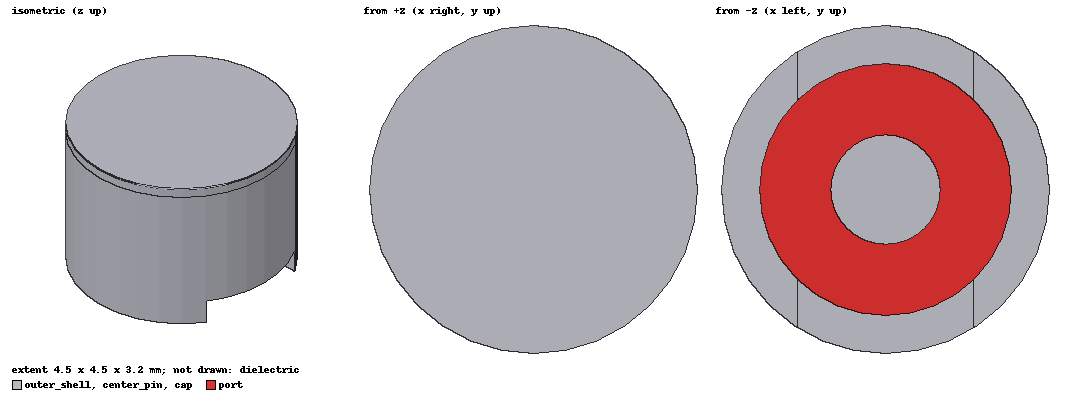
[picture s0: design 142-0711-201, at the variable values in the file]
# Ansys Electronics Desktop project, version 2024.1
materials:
  air: permittivity=1.0006 permeability=1.0000004
  copper: permeability=0.999991 conductivity=58000000
  FR4: permittivity=4.35 dielectric_loss_tangent=0.02
  FR4_epoxy: permittivity=4.4 dielectric_loss_tangent=0.02
  pec: conductivity=1e+30
  ro4003: permittivity=3.38 permeability=1 dielectric_loss_tangent=0.0027
  ro4450f: permittivity=3.52 dielectric_loss_tangent=0.002
  vacuum: permittivity=1

design 142-0711-201 (HFSS, HFSS Terminal Network, model units mm)
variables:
  N = 32
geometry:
  center_pin [pec] = cylinder(axis=Z, base_centre=(0mm, 0mm, 0mm), radius=1.5mm/2, height=3mm, segments=N)
  outer_shell [pec] = cylinder(axis=Z, base_centre=(0mm, 0mm, 0mm), radius=4.5mm/2, height=3mm, segments=N)
  outer_shell_tool = cylinder(axis=Z, base_centre=(0mm, 0mm, 0mm), radius=1.5mm/2*2.303, height=3mm, segments=N)
  dielectric [vacuum] = cylinder(axis=Z, base_centre=(0mm, 0mm, 0mm), radius=1.5mm/2*2.303, height=3mm, segments=N)
  outer_shell.subtract(outer_shell_tool)
  port = circle(normal=Z, centre=(0mm, 0mm, 3mm), radius=4.5mm/2, segments=N)
  Rectangle2 = rectangle(corner=(-2.41mm/2, -5mm, 0mm), x_size=2.41mm, y_size=10mm)
  Rectangle2.sweep_along_vector((0mm, 0mm, 0.5mm))
  outer_shell.subtract(Rectangle2)
  cap [pec] = circle(normal=Z, centre=(0mm, 0mm, 3mm), radius=4.5mm/2, segments=N)
  cap.sweep_along_vector((0mm, 0mm, 0.2mm))
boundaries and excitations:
  center_pin_T1: Terminal port=1 Faces=center_pin.face(at (0, 0, 3)) TerminalResistance=50ohm
  1: Wave Port Faces=port.face WavePortType=Terminal NumModes=1
  2: Wave Port Faces=cap.face(at (0, 0, 3)) WavePortType=Terminal NumModes=1
  reference conductors: outer_shell
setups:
  Setup1: HfssDriven Frequency=2.42GHz MaxDeltaS=0.02 MaximumPasses=6 MinimumPasses=1 MinimumConvergedPasses=1 PercentRefinement=30 BasisOrder=1 PortAccuracy=0.5 DrivenSolverType="Direct Solver"
    sweep Sweep: 1.21GHz to 3.63GHz, 401 points; disabled Type=Interpolating InterpTolerance=0.5 InterpMaxSolns=250 InterpUseS=false
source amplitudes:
  1:1: 1V 0deg

design res0402 (HFSS 3D Layout)
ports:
  Port1, Port2: Properties{Reference=gnd Impedance=50ohm Magnitude=1V Phase=0deg Renormalize_Impedence="50ohm + 0i ohm" Renormalize Deembed_Distance=0mm Deembed Type="Single Strip Gap Source" HFSS_Type=Gap Orientation=Vertical Layer_Alignment=Lower Horizontal_Extent_Factor=5 Vertical_Extent_Factor=3 PEC_Launch_Width=0.06mm} Type=EdgePort
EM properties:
  rect_3 EM props: Type(Mesh, ThinFilm) Properties{Refined RefineFactor=1 Material=copper SheetImpedance=resistance Model_as_Sheet} Element=rect_3
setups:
  Setup1: SolveSetupType=HFSS PercentRefinementPerPass=15 MinNumberOfPasses=1 MinNumberOfConvergedPasses=1 Frequency=10GHz MeshSizeFactor=1.5 ViaNumSides=6 ViaMaterial=copper Style25DVia=Mesh
    sweep Sweep1: LINC 1GHz 3GHz 201; SAbsError=0.005 ZoPercentError=1 PassivityTolerance=0.0001 MaxSolutions=250 InterpUseSMatrix InterpUsePortImpedance InterpUseFullBasis MinSolvedFreq=0.01GHz AutoSMatOnlySolve MinFreqSMatrixOnlySolve=1MHz MagMinThreshold=0.01 InterpMinSolutions=0 FreqSweepType=kInterpolating

design splitter (HFSS 3D Layout)
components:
  U7 = res403()
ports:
  Port1, Port2, Port3: Properties{Reference=gnd Impedance=50ohm Magnitude=1V Phase=0deg Renormalize_Impedence="50ohm + 0i ohm" Renormalize Deembed_Distance=0mm Deembed Type="Single Strip Gap Source" HFSS_Type=Gap Orientation=Vertical Layer_Alignment=Lower Horizontal_Extent_Factor=5 Vertical_Extent_Factor=3 PEC_Launch_Width=0.12mm} Type=EdgePort
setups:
  Setup1: SolveSetupType=HFSS PercentRefinementPerPass=15 MinNumberOfPasses=1 MinNumberOfConvergedPasses=1 Frequency=10GHz MeshSizeFactor=1.5 ViaNumSides=6 ViaMaterial=copper Style25DVia=Mesh
    sweep Sweep1: LINC 1.5GHz 3.5GHz 201; SAbsError=0.005 ZoPercentError=1 PassivityTolerance=0.0001 MaxSolutions=250 InterpUseSMatrix InterpUsePortImpedance InterpUseFullBasis MinSolvedFreq=0.01GHz AutoSMatOnlySolve MinFreqSMatrixOnlySolve=1MHz MagMinThreshold=0.01 InterpMinSolutions=0 FreqSweepType=kInterpolating
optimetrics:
  ParametricSetup1: Parametric Sim._Setups=[Setup1]
    sweep len: LIN 15mm 25mm 1mm
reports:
  S Parameter Plot 1: XAtYMin(dB(S(Port1,Port1))), XAtYMax(dB(S(Port2,Port1))), XAtYMax(dB(S(Port3,Port1))) vs len on Setup1 : Sweep1 [Freq=all]; markers MY1 at y=2.42e+09
  S Parameter Plot 2: dB(S(Port2,Port1)), dB(S(Port3,Port1)) vs Freq on Setup1 : Sweep1
  S Parameter Plot 3: dB(S(Port1,Port1)) vs Freq on Setup1 : Sweep1

design res403 (HFSS 3D Layout)
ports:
  Port1, Port2: Properties{Reference=gnd Impedance=50ohm Magnitude=1V Phase=0deg Renormalize_Impedence="50ohm + 0i ohm" Renormalize Deembed_Distance=0mm Deembed Type="Single Strip Gap Source" HFSS_Type=Gap Orientation=Vertical Layer_Alignment=Lower Horizontal_Extent_Factor=5 Vertical_Extent_Factor=3 PEC_Launch_Width=0.06mm} Type=EdgePort
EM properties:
  rect_3 EM props: Type(Mesh, ThinFilm) Properties{Refined RefineFactor=1 Material=copper SheetImpedance=resistance Model_as_Sheet} Element=rect_3
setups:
  Setup1: SolveSetupType=HFSS PercentRefinementPerPass=15 MinNumberOfPasses=1 MinNumberOfConvergedPasses=1 Frequency=10GHz MeshSizeFactor=1.5 ViaNumSides=6 ViaMaterial=copper Style25DVia=Mesh
    sweep Sweep1: LINC 1GHz 3GHz 201; SAbsError=0.005 ZoPercentError=1 PassivityTolerance=0.0001 MaxSolutions=250 InterpUseSMatrix InterpUsePortImpedance InterpUseFullBasis MinSolvedFreq=0.01GHz AutoSMatOnlySolve MinFreqSMatrixOnlySolve=1MHz MagMinThreshold=0.01 InterpMinSolutions=0 FreqSweepType=kInterpolating

design patch (HFSS 3D Layout)
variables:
  slot_length1 = 3mm
  slot_width1 = 5mm
  microstrip_len = 20mm
  microstrip_stub = 8.5mm
  a = 7mm
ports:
  Port1, Port2: Properties{Reference=gnd Impedance=50ohm Magnitude=1V Phase=0deg Renormalize_Impedence="50ohm + 0i ohm" Renormalize Deembed_Distance=0mm Deembed Type="Single Strip Gap Source" HFSS_Type=Gap Orientation=Vertical Layer_Alignment=Lower Horizontal_Extent_Factor=5 Vertical_Extent_Factor=3 PEC_Launch_Width=0.11mm} Type=EdgePort
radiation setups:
  Infinite Sphere 1: Type=InfiniteSphereFarField StartTheta=0deg StartPhi=-180deg StopTheta=180deg StopPhi=180deg StepTheta=2deg StepPhi=2deg
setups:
  Setup1: SolveSetupType=HFSS PercentRefinementPerPass=15 MinNumberOfPasses=1 MinNumberOfConvergedPasses=2 Frequency=10GHz MeshSizeFactor=1.5 ViaNumSides=6 ViaMaterial=copper Style25DVia=Mesh
    sweep Sweep1: LINC 2GHz 3.2GHz 501; SAbsError=0.005 ZoPercentError=1 PassivityTolerance=0.0001 MaxSolutions=250 InterpUseSMatrix InterpUsePortImpedance InterpUseFullBasis MinSolvedFreq=0.01GHz AutoSMatOnlySolve MinFreqSMatrixOnlySolve=1MHz MagMinThreshold=0.01 InterpMinSolutions=0 FreqSweepType=kInterpolating
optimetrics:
  patch_width: Parametric Sim._Setups=[Setup1]
    sweep patch_width: LIN 29mm 31mm 0.2mm
  microstrip_stub: Parametric Sim._Setups=[Setup1]
    sweep microstrip_stub: LIN 7.5mm 9.5mm 0.1mm
  slot_length: Parametric Sim._Setups=[Setup1]
    sweep slot_length: LIN 10.5mm 11.5mm 0.1mm
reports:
  S Parameter Plot 1: YAtXVal(dB(S(Port1,Port1)), 2.42GHz) vs slot_length on Setup1 : Sweep1 [Freq=all]; markers MX1 at x=0.032105263, MY1 at y=2.05e+09
  S Parameter Plot 2: dB(S(Port1,Port1)), dB(S(Port2,Port1)) vs Freq on Setup1 : Sweep1; markers MX1 at x=2.42e+09
  Port Zo Table 1: Zo(Port1,Port1) vs Freq on Setup1 : Last Adaptive
  S Parameter Plot 3: dB(S(Port1,Port1)) vs Freq on Setup1 : Sweep1; markers MX1 at x=2.4244186e+09
  Gain Plot 1: dB(GainLHCP), dB(GainRHCP) vs Theta on Setup1 : Last Adaptive [Phi=-180deg,0deg Freq=2.1GHz]
  Antenna Params Table 1: RadiationEfficiency vs Freq on Setup1 : Last Adaptive

design patch_and_splitter (HFSS 3D Layout)
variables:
  b = 3.935mm
  len = 17.8mm
  patch_width = 30mm
  slot_length = 11mm
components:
  U20 = splitter1(port_len=1mm w=w len=len k=-0.01)
  U23 = patch1(w=w patch_width=patch_width slot_length=slot_length offset=12.5mm)
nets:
  net_1: U23.0, U20.1
  net_2: U23.1, U20.Port1
  Port1: U20.0
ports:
  Port1: Properties{Reference=gnd Impedance=50ohm Magnitude=1V Phase=0deg Renormalize_Impedence="50ohm + 0i ohm" Deembed_Distance=6mm Deembed Type="Single Strip Gap Source" HFSS_Type=Wave Orientation=Vertical Layer_Alignment=Upper Horizontal_Extent_Factor=10 Vertical_Extent_Factor=5 PEC_Launch_Width=0.2mm} Type=EdgePort Pin=Port1
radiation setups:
  Infinite Sphere 1: Type=InfiniteSphereFarField StartTheta=0deg StartPhi=-180deg StopTheta=180deg StopPhi=180deg StepTheta=2deg StepPhi=2deg
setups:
  Setup1: SolveSetupType=HFSS PercentRefinementPerPass=30 MinNumberOfPasses=1 MinNumberOfConvergedPasses=2 Frequency=10GHz MeshSizeFactor=1.5 ViaNumSides=6 ViaMaterial=copper Style25DVia=Mesh
    sweep Sweep1: LINC 2GHz 3GHz 51; GenerateSurfaceCurrent SAbsError=0.005 ZoPercentError=1 PassivityTolerance=0.0001 MaxSolutions=250 InterpUseSMatrix InterpUsePortImpedance InterpUseFullBasis MinSolvedFreq=0.01GHz AutoSMatOnlySolve MinFreqSMatrixOnlySolve=1MHz MagMinThreshold=0.01 InterpMinSolutions=0 FreqSweepType=kDiscrete
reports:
  S Parameter Plot 1: dB(S(Port1,Port1)) vs Freq on Setup1 : Sweep1; markers MX1 at x=2.42e+09
  Antenna Params Table 1: RadiationEfficiency vs Freq on Setup1 : Last Adaptive
  Antenna Params Plot 1: RadiationEfficiency vs Freq on Setup1 : Sweep1; markers MX1 at x=2.42e+09
  Gain Plot 1: dB(GainLHCP), dB(GainRHCP) vs Theta on Setup1 : Last Adaptive [Phi=-180deg,0deg Freq=all]; markers MX1 at x=0
  Port Zo Plot 1: re(Zo(Port1,Port1)) vs Freq on Setup1 : Sweep1

design splitter1 (HFSS 3D Layout)
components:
  U7 = res404(resistance=100ohm)
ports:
  Port1, Port2, Port3: Properties{Reference=gnd Impedance=50ohm Magnitude=1V Phase=0deg Renormalize_Impedence="50ohm + 0i ohm" Renormalize Deembed_Distance=0mm Deembed Type="Single Strip Gap Source" HFSS_Type=Gap Orientation=Vertical Layer_Alignment=Lower Horizontal_Extent_Factor=5 Vertical_Extent_Factor=3 PEC_Launch_Width=0.12mm} Type=EdgePort
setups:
  Setup1: SolveSetupType=HFSS PercentRefinementPerPass=15 MinNumberOfPasses=1 MinNumberOfConvergedPasses=1 Frequency=10GHz MeshSizeFactor=1.5 ViaNumSides=6 ViaMaterial=copper Style25DVia=Mesh
    sweep Sweep1: LINC 1GHz 3GHz 201; SAbsError=0.005 ZoPercentError=1 PassivityTolerance=0.0001 MaxSolutions=250 InterpUseSMatrix InterpUsePortImpedance InterpUseFullBasis MinSolvedFreq=0.01GHz AutoSMatOnlySolve MinFreqSMatrixOnlySolve=1MHz MagMinThreshold=0.01 InterpMinSolutions=0 FreqSweepType=kInterpolating
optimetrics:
  ParametricSetup1: Parametric Sim._Setups=[Setup1]
    sweep len: LIN 15mm 25mm 1mm

design res404 (HFSS 3D Layout)
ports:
  Port1, Port2: Properties{Impedance=50ohm Magnitude=1V Phase=0deg Renormalize_Impedence="50ohm + 0i ohm" Renormalize Deembed_Distance=0mm Deembed Type="Single Strip Gap Source" HFSS_Type=Gap Orientation=Vertical Layer_Alignment=Lower Horizontal_Extent_Factor=5 Vertical_Extent_Factor=3 PEC_Launch_Width=0.06mm} Type=Invalid
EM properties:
  rect_3 EM props: Type(Mesh, ThinFilm) Properties{Refined RefineFactor=1 Material=copper SheetImpedance=resistance Model_as_Sheet} Element=rect_3
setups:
  Setup1: SolveSetupType=HFSS PercentRefinementPerPass=15 MinNumberOfPasses=1 MinNumberOfConvergedPasses=1 Frequency=10GHz MeshSizeFactor=1.5 ViaNumSides=6 ViaMaterial=copper Style25DVia=Mesh
    sweep Sweep1: LINC 1GHz 3GHz 201; SAbsError=0.005 ZoPercentError=1 PassivityTolerance=0.0001 MaxSolutions=250 InterpUseSMatrix InterpUsePortImpedance InterpUseFullBasis MinSolvedFreq=0.01GHz AutoSMatOnlySolve MinFreqSMatrixOnlySolve=1MHz MagMinThreshold=0.01 InterpMinSolutions=0 FreqSweepType=kInterpolating

design patch1 (HFSS 3D Layout)
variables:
  slot_length1 = 3mm
  slot_width1 = 5mm
  microstrip_len = 20mm
  microstrip_stub = 8.5mm
  a = 7mm
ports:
  Port1, Port2: Properties{Reference=gnd Impedance=50ohm Magnitude=1V Phase=0deg Renormalize_Impedence="50ohm + 0i ohm" Renormalize Deembed_Distance=0mm Deembed Type="Single Strip Gap Source" HFSS_Type=Gap Orientation=Vertical Layer_Alignment=Lower Horizontal_Extent_Factor=5 Vertical_Extent_Factor=3 PEC_Launch_Width=0.11mm} Type=EdgePort
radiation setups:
  Infinite Sphere 1: Type=InfiniteSphereFarField StartTheta=0deg StartPhi=-180deg StopTheta=180deg StopPhi=180deg StepTheta=2deg StepPhi=2deg
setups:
  Setup1: SolveSetupType=HFSS PercentRefinementPerPass=15 MinNumberOfPasses=1 MinNumberOfConvergedPasses=2 Frequency=10GHz MeshSizeFactor=1.5 ViaNumSides=6 ViaMaterial=copper Style25DVia=Mesh
    sweep Sweep1: LINC 1.8GHz 2.4GHz 501; SAbsError=0.005 ZoPercentError=1 PassivityTolerance=0.0001 MaxSolutions=250 InterpUseSMatrix InterpUsePortImpedance InterpUseFullBasis MinSolvedFreq=0.01GHz AutoSMatOnlySolve MinFreqSMatrixOnlySolve=1MHz MagMinThreshold=0.01 InterpMinSolutions=0 FreqSweepType=kInterpolating
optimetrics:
  ParametricSetup1: Parametric Sim._Setups=[Setup1]
    sweep microstrip_stub: LIN 5mm 25mm 1mm

design delay_and_splitter (HFSS 3D Layout)
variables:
  b = 3.935mm
  len = 17.8mm
  k = -0.01
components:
  U20 = splitter2(port_len=1mm w=w len=len k=k)
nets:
  net_1: U20.1
  net_2: U20.Port1
  Port1: U20.0
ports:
  Port1: Properties{Reference=gnd Impedance=50ohm Magnitude=1V Phase=0deg Renormalize_Impedence="50ohm + 0i ohm" Deembed_Distance=0mm Deembed Type="Single Strip Gap Source" HFSS_Type=Wave Orientation=Vertical Layer_Alignment=Upper Horizontal_Extent_Factor=10 Vertical_Extent_Factor=5 PEC_Launch_Width=0.2mm} Type=EdgePort Pin=Port1
  Port2, Port3: Properties{Reference=gnd Impedance=50ohm Magnitude=1V Phase=0deg Renormalize_Impedence="50ohm + 0i ohm" Deembed_Distance=0mm Deembed Type="Single Strip Gap Source" HFSS_Type=Wave Orientation=Vertical Layer_Alignment=Lower Horizontal_Extent_Factor=10 Vertical_Extent_Factor=5 PEC_Launch_Width=0.2mm} Type=EdgePort
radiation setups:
  Infinite Sphere 1: Type=InfiniteSphereFarField StartTheta=0deg StartPhi=-180deg StopTheta=180deg StopPhi=180deg StepTheta=2deg StepPhi=2deg
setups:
  Setup1: SolveSetupType=HFSS PercentRefinementPerPass=30 MinNumberOfPasses=1 MinNumberOfConvergedPasses=2 Frequency=10GHz MeshSizeFactor=1.5 ViaNumSides=6 ViaMaterial=copper Style25DVia=Mesh
    sweep Sweep1: LINC 2GHz 3.5GHz 201; SAbsError=0.005 ZoPercentError=1 PassivityTolerance=0.0001 MaxSolutions=250 InterpUseSMatrix InterpUsePortImpedance InterpUseFullBasis MinSolvedFreq=0.01GHz AutoSMatOnlySolve MinFreqSMatrixOnlySolve=1MHz MagMinThreshold=0.01 InterpMinSolutions=0 FreqSweepType=kInterpolating
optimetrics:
  b: Parametric Sim._Setups=[Setup1]
    sweep b: LIN 3.5mm 4.5mm 0.1mm
  k: Parametric Sim._Setups=[Setup1]
    sweep k: LIN -0.1 0 0.01
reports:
  S Parameter Plot 1: dB(S(Port2,Port1)), dB(S(Port3,Port1)) vs Freq on Setup1 : Sweep1; markers MX1 at x=2.42e+09
  S Parameter Plot 2: cang_deg(S(Port2,Port1)/S(Port3,Port1)) vs Freq on Setup1 : Sweep1; markers MX1 at x=2.42e+09
  S Parameter Plot 2_1: db(S(Port2,Port1)/S(Port3,Port1)) vs k on Setup1 : Last Adaptive [Freq=2.42GHz]; markers MY1 at y=0
  S Parameter Plot 3: dB(S(Port1,Port1)) vs Freq on Setup1 : Sweep1; markers MX1 at x=2.42e+09
  S Parameter Plot 2_2: cang_deg(S(Port2,Port1)/S(Port3,Port1)) vs b on Setup1 : Last Adaptive [Freq=2.42GHz]; markers MX1 at x=2.42e+09, MY1 at y=1.5708

design splitter2 (HFSS 3D Layout)
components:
  U7 = res405()
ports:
  Port1, Port2, Port3: Properties{Reference=gnd Impedance=50ohm Magnitude=1V Phase=0deg Renormalize_Impedence="50ohm + 0i ohm" Renormalize Deembed_Distance=0mm Deembed Type="Single Strip Gap Source" HFSS_Type=Gap Orientation=Vertical Layer_Alignment=Lower Horizontal_Extent_Factor=5 Vertical_Extent_Factor=3 PEC_Launch_Width=0.12mm} Type=EdgePort
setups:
  Setup1: SolveSetupType=HFSS PercentRefinementPerPass=15 MinNumberOfPasses=1 MinNumberOfConvergedPasses=1 Frequency=10GHz MeshSizeFactor=1.5 ViaNumSides=6 ViaMaterial=copper Style25DVia=Mesh
    sweep Sweep1: LINC 1GHz 3GHz 201; SAbsError=0.005 ZoPercentError=1 PassivityTolerance=0.0001 MaxSolutions=250 InterpUseSMatrix InterpUsePortImpedance InterpUseFullBasis MinSolvedFreq=0.01GHz AutoSMatOnlySolve MinFreqSMatrixOnlySolve=1MHz MagMinThreshold=0.01 InterpMinSolutions=0 FreqSweepType=kInterpolating
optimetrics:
  ParametricSetup1: Parametric Sim._Setups=[Setup1]
    sweep len: LIN 15mm 25mm 1mm

design res405 (HFSS 3D Layout)
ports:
  Port1: Properties{Impedance=50ohm Magnitude=1V Phase=0deg Renormalize_Impedence="50ohm + 0i ohm" Renormalize Deembed_Distance=0mm Deembed Type="Single Strip Gap Source" HFSS_Type=Gap Orientation=Vertical Layer_Alignment=Lower Horizontal_Extent_Factor=5 Vertical_Extent_Factor=3 PEC_Launch_Width=0.06mm} Type=Invalid Pin=Port1
  Port2: Properties{Impedance=50ohm Magnitude=1V Phase=0deg Renormalize_Impedence="50ohm + 0i ohm" Renormalize Deembed_Distance=0mm Deembed Type="Single Strip Gap Source" HFSS_Type=Gap Orientation=Vertical Layer_Alignment=Lower Horizontal_Extent_Factor=5 Vertical_Extent_Factor=3 PEC_Launch_Width=0.06mm} Type=EdgePort Pin=Port2
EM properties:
  rect_3 EM props: Type(Mesh, ThinFilm) Properties{Refined RefineFactor=1 Material=copper SheetImpedance=resistance Model_as_Sheet} Element=rect_3
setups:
  Setup1: SolveSetupType=HFSS PercentRefinementPerPass=15 MinNumberOfPasses=1 MinNumberOfConvergedPasses=1 Frequency=10GHz MeshSizeFactor=1.5 ViaNumSides=6 ViaMaterial=copper Style25DVia=Mesh
    sweep Sweep1: LINC 1GHz 3GHz 201; SAbsError=0.005 ZoPercentError=1 PassivityTolerance=0.0001 MaxSolutions=250 InterpUseSMatrix InterpUsePortImpedance InterpUseFullBasis MinSolvedFreq=0.01GHz AutoSMatOnlySolve MinFreqSMatrixOnlySolve=1MHz MagMinThreshold=0.01 InterpMinSolutions=0 FreqSweepType=kInterpolating

design patch_and_splitter_sma (HFSS 3D Layout)
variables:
  b = 3.935mm
  len = 17.8mm
  patch_width = 30mm
  slot_length = 11mm
  delta = 0mm
  a = 10mm
  ant_width = 50mm
  ant_height = 50mm
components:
  U20 = splitter3(port_len=1mm w=w len=len k=-0.01)
  U23 = patch2(w=w patch_width=patch_width slot_length=slot_length offset=12.5mm)
  U50 = 142-0711-201_fp1()
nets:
  net_1: U20.1, U23.0
  net_2: U20.Port1, U23.1
  Port1: U20.0
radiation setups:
  Infinite Sphere 1: Type=InfiniteSphereFarField StartTheta=0deg StartPhi=-180deg StopTheta=180deg StopPhi=180deg StepTheta=2deg StepPhi=2deg
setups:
  Setup1: SolveSetupType=HFSS PercentRefinementPerPass=30 MinNumberOfPasses=1 MinNumberOfConvergedPasses=2 Frequency=10GHz MeshSizeFactor=1.5 ViaNumSides=6 ViaMaterial=copper Style25DVia=Mesh
    sweep Sweep1: LINC 2GHz 3GHz 51; GenerateSurfaceCurrent SAbsError=0.005 ZoPercentError=1 PassivityTolerance=0.0001 MaxSolutions=250 InterpUseSMatrix InterpUsePortImpedance InterpUseFullBasis MinSolvedFreq=0.01GHz AutoSMatOnlySolve MinFreqSMatrixOnlySolve=1MHz MagMinThreshold=0.01 InterpMinSolutions=0 FreqSweepType=kDiscrete
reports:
  S Parameter Plot 1: dB(S(Port1,Port1)) vs Freq on Setup1 : Sweep1; markers MX1 at x=2.42e+09
  Antenna Params Table 1: RadiationEfficiency vs Freq on Setup1 : Last Adaptive
  Antenna Params Plot 1: RadiationEfficiency vs Freq on Setup1 : Sweep1; markers MX1 at x=2.42e+09
  Gain Plot 1: dB(GainLHCP), dB(GainRHCP) vs Theta on Setup1 : Last Adaptive [Phi=-180deg,0deg Freq=all]
  Port Zo Plot 1: re(Zo(Port1,Port1)) vs Freq on Setup1 : Sweep1

design splitter3 (HFSS 3D Layout)
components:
  U7 = res406(resistance=100ohm)
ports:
  Port1, Port2, Port3: Properties{Reference=gnd Impedance=50ohm Magnitude=1V Phase=0deg Renormalize_Impedence="50ohm + 0i ohm" Renormalize Deembed_Distance=0mm Deembed Type="Single Strip Gap Source" HFSS_Type=Gap Orientation=Vertical Layer_Alignment=Lower Horizontal_Extent_Factor=5 Vertical_Extent_Factor=3 PEC_Launch_Width=0.12mm} Type=EdgePort
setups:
  Setup1: SolveSetupType=HFSS PercentRefinementPerPass=15 MinNumberOfPasses=1 MinNumberOfConvergedPasses=1 Frequency=10GHz MeshSizeFactor=1.5 ViaNumSides=6 ViaMaterial=copper Style25DVia=Mesh
    sweep Sweep1: LINC 1GHz 3GHz 201; SAbsError=0.005 ZoPercentError=1 PassivityTolerance=0.0001 MaxSolutions=250 InterpUseSMatrix InterpUsePortImpedance InterpUseFullBasis MinSolvedFreq=0.01GHz AutoSMatOnlySolve MinFreqSMatrixOnlySolve=1MHz MagMinThreshold=0.01 InterpMinSolutions=0 FreqSweepType=kInterpolating
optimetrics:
  ParametricSetup1: Parametric Sim._Setups=[Setup1]
    sweep len: LIN 15mm 25mm 1mm

design res406 (HFSS 3D Layout)
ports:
  Port1: Properties{Impedance=50ohm Magnitude=1V Phase=0deg Renormalize_Impedence="50ohm + 0i ohm" Renormalize Deembed_Distance=0mm Deembed Type="Single Strip Gap Source" HFSS_Type=Gap Orientation=Vertical Layer_Alignment=Lower Horizontal_Extent_Factor=5 Vertical_Extent_Factor=3 PEC_Launch_Width=0.06mm} Type=Invalid Pin=Port1
  Port2: Properties{Impedance=50ohm Magnitude=1V Phase=0deg Renormalize_Impedence="50ohm + 0i ohm" Renormalize Deembed_Distance=0mm Deembed Type="Single Strip Gap Source" HFSS_Type=Gap Orientation=Vertical Layer_Alignment=Lower Horizontal_Extent_Factor=5 Vertical_Extent_Factor=3 PEC_Launch_Width=0.06mm} Type=EdgePort Pin=Port2
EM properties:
  rect_3 EM props: Type(Mesh, ThinFilm) Properties{Refined RefineFactor=1 Material=copper SheetImpedance=resistance Model_as_Sheet} Element=rect_3
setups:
  Setup1: SolveSetupType=HFSS PercentRefinementPerPass=15 MinNumberOfPasses=1 MinNumberOfConvergedPasses=1 Frequency=10GHz MeshSizeFactor=1.5 ViaNumSides=6 ViaMaterial=copper Style25DVia=Mesh
    sweep Sweep1: LINC 1GHz 3GHz 201; SAbsError=0.005 ZoPercentError=1 PassivityTolerance=0.0001 MaxSolutions=250 InterpUseSMatrix InterpUsePortImpedance InterpUseFullBasis MinSolvedFreq=0.01GHz AutoSMatOnlySolve MinFreqSMatrixOnlySolve=1MHz MagMinThreshold=0.01 InterpMinSolutions=0 FreqSweepType=kInterpolating

design patch2 (HFSS 3D Layout)
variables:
  slot_length1 = 3mm
  slot_width1 = 5mm
  microstrip_len = 20mm
  microstrip_stub = 8.5mm
  a = 7mm
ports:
  Port1, Port2: Properties{Reference=gnd Impedance=50ohm Magnitude=1V Phase=0deg Renormalize_Impedence="50ohm + 0i ohm" Renormalize Deembed_Distance=0mm Deembed Type="Single Strip Gap Source" HFSS_Type=Gap Orientation=Vertical Layer_Alignment=Lower Horizontal_Extent_Factor=5 Vertical_Extent_Factor=3 PEC_Launch_Width=0.11mm} Type=EdgePort
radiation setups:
  Infinite Sphere 1: Type=InfiniteSphereFarField StartTheta=0deg StartPhi=-180deg StopTheta=180deg StopPhi=180deg StepTheta=2deg StepPhi=2deg
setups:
  Setup1: SolveSetupType=HFSS PercentRefinementPerPass=15 MinNumberOfPasses=1 MinNumberOfConvergedPasses=2 Frequency=10GHz MeshSizeFactor=1.5 ViaNumSides=6 ViaMaterial=copper Style25DVia=Mesh
    sweep Sweep1: LINC 1.8GHz 2.4GHz 501; SAbsError=0.005 ZoPercentError=1 PassivityTolerance=0.0001 MaxSolutions=250 InterpUseSMatrix InterpUsePortImpedance InterpUseFullBasis MinSolvedFreq=0.01GHz AutoSMatOnlySolve MinFreqSMatrixOnlySolve=1MHz MagMinThreshold=0.01 InterpMinSolutions=0 FreqSweepType=kInterpolating
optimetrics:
  ParametricSetup1: Parametric Sim._Setups=[Setup1]
    sweep microstrip_stub: LIN 5mm 25mm 1mm
